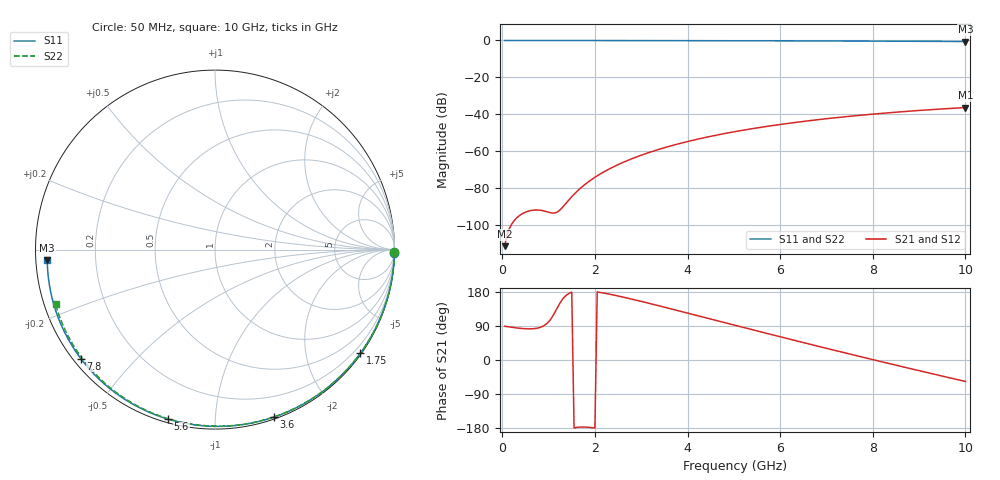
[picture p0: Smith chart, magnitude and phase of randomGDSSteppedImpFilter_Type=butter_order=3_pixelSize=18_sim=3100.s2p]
! freq	dB(S11)	phase(S11)	dB(S12)	phase(S12)
!  dB(S21)	phase(S21)	dB(S22)	phase(S22)
!S-par simulation data
#  GHz  S  DB  R 50
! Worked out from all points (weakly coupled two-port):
!   200 points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, 50 MHz to 10 GHz, reference 50 ohm
!   highest |S21| = -36.34 dB at 10 GHz (marker M1); lowest = -111.4 dB at 50 MHz (marker M2)
!   lowest |S11| = -0.6 dB at 10 GHz (marker M3), VSWR 30.47, Z = 1.64 - j1.58 ohm
!   |S11| at or under -10 dB: nowhere
!   |S22| runs from -0.5 to 0.0 dB; largest |S21 - S12| = 0
!   S11 on the Smith chart (normalised r, x): 50 MHz: open; 1.75 GHz: 0.03, -3.12; 3.6 GHz: 0.02, -1.41; 5.6 GHz: 0.02, -0.76; 7.8 GHz: 0.02, -0.36; 10 GHz: 0.03, -0.03
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0.05  -0.00 -1.0  -111.37 89.1  -111.37 89.1  -0.00 -0.9
0.8  -0.02 -16.5  -91.86 85.4  -91.86 85.4  -0.02 -14.6
1.2  -0.03 -24.5  -92.69 140.6  -92.69 140.6  -0.03 -21.8
1.65  -0.04 -33.5  -80.83 -177.2  -80.83 -177.2  -0.04 -29.8
1.7  -0.04 -34.5  -79.72 -176.9  -79.72 -176.9  -0.04 -30.7
1.75  -0.05 -35.5  -78.66 -176.8  -78.66 -176.8  -0.04 -31.6
1.9  -0.05 -38.5  -75.79 -178.0  -75.79 -178.0  -0.04 -34.2
2.05  -0.05 -41.4  -73.28 179.6  -73.28 179.6  -0.05 -36.9
2.25  -0.06 -45.3  -70.36 175.3  -70.36 175.3  -0.05 -40.4
2.45  -0.06 -49.2  -67.82 170.3  -67.82 170.3  -0.06 -43.8
2.9  -0.07 -57.8  -63.05 157.6  -63.05 157.6  -0.07 -51.6
3.4  -0.09 -67.1  -58.82 142.5  -58.82 142.5  -0.08 -60.0
3.6  -0.09 -70.7  -57.35 136.3  -57.35 136.3  -0.09 -63.3
4.3  -0.12 -83.3  -52.97 114.4  -52.97 114.4  -0.11 -74.7
5.05  -0.15 -96.2  -49.24 90.8  -49.24 90.8  -0.13 -86.6
5.6  -0.17 -105.5  -46.95 73.7  -46.95 73.7  -0.16 -95.1
6.15  -0.20 -114.5  -44.97 56.7  -44.97 56.7  -0.19 -103.5
6.7  -0.24 -123.4  -43.23 39.9  -43.23 39.9  -0.22 -111.7
7.8  -0.33 -140.9  -40.34 6.9  -40.34 6.9  -0.30 -128.0
8.35  -0.38 -149.6  -39.14 -9.3  -39.14 -9.3  -0.35 -136.1
9.2  -0.47 -163.2  -37.55 -33.9  -37.55 -33.9  -0.44 -148.8
10  -0.57 -176.4  -36.34 -56.6  -36.34 -56.6  -0.54 -161.0
